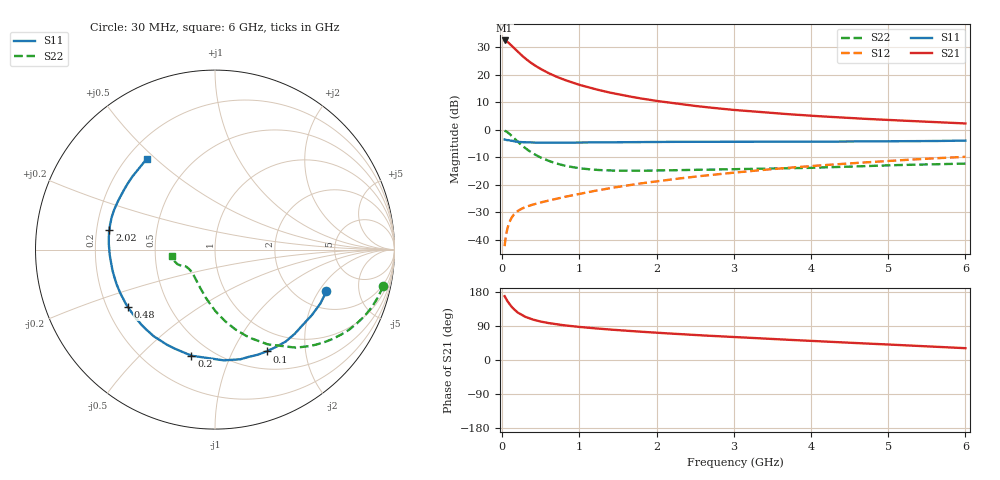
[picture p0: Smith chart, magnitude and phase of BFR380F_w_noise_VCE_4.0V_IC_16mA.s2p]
! Infineon Technologies  Discrete & RF Semiconductors
! BFR380F
! VCE =  4.0 V,  IC =  16 mA
! Common Emitter S-Parameters:  Nov 2015
# GHz  S  MA  R  50
!  f  S11  S21  S12  S22
! GHz  MAG  ANG  MAG  ANG  MAG  ANG  MAG  ANG
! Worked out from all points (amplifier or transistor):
!   206 points, 30 MHz to 6 GHz, reference 50 ohm
!   highest |S21| = 32.4 dB at 30 MHz (marker M1)
!   |S21| within 3 dB of that: start of sweep to 161.2 MHz
!   unconditionally stable (mu >= 1): 1.504 GHz to 4.988 GHz
!   at 200 MHz: K = 0.32, MSG = 28.9 dB, |S12| = -29.5 dB
!   at 1.56 GHz: K = 1.01, MAG = 16.0 dB, |S12| = -20.5 dB
!   at 6 GHz: K = 0.98, MSG = 6.1 dB, |S12| = -9.9 dB
!   lowest NFmin = 0.97 dB at 900 MHz
!   S11 on the Smith chart (normalised r, x): 30 MHz: 2.84, -2.35; 100 MHz: 0.72, -1.37; 200 MHz: 0.39, -0.73; 480 MHz: 0.29, -0.28; 2.02 GHz: 0.25, +0.09; 6 GHz: 0.28, +0.47
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0.03  0.6631 -20.5  41.48 168.4  0.0077 81.1  0.9592 -12.3
0.05  0.6516 -34.0  40.46 160.7  0.0126 76.4  0.9313 -20.1
0.07  0.6462 -46.5  38.65 154.3  0.0168 70.9  0.8911 -27.5
0.1  0.636 -63.1  35.58 145.7  0.0222 64.8  0.8222 -37.3
0.12  0.6265 -72.6  33.44 140.6  0.0252 61.2  0.7741 -43.1
0.15  0.619 -85.5  30.44 134.0  0.0289 57.1  0.7053 -50.7
0.2  0.6055 -102.5  25.9 125.2  0.0334 52.4  0.6042 -60.9
0.24  0.5955 -112.5  23.01 120.3  0.0361 50.3  0.5389 -67.2
0.3  0.5913 -125.2  19.44 113.8  0.0395 48.5  0.4596 -75.6
0.36  0.5859 -134.0  16.76 109.2  0.0421 47.9  0.4013 -82.1
0.4  0.5837 -138.9  15.3 106.5  0.0438 48.0  0.3698 -85.9
0.48  0.5812 -146.8  13.04 102.3  0.047 48.7  0.3214 -92.6
0.6  0.5808 -155.5  10.59 97.4  0.0517 50.4  0.2715 -101.1
0.7  0.5813 -160.8  9.159 94.4  0.0557 52.1  0.2438 -107.2
0.9  0.5829 -168.6  7.197 89.4  0.0642 55.1  0.2101 -117.2
1.04  0.5838 -172.8  6.264 86.5  0.0704 56.9  0.1967 -122.9
1.4  0.5904 179.0  4.683 80.3  0.0869 60.2  0.1817 -134.6
2.02  0.5989 169.4  3.291 71.8  0.1168 62.9  0.1815 -144.7
3.1  0.6038 157.4  2.222 59.6  0.1712 63.3  0.1923 -151.4
4.1  0.6064 146.8  1.754 49.3  0.2237 61.0  0.2049 -153.4
5.1  0.6151 137.2  1.477 39.9  0.2758 57.4  0.2273 -160.2
6  0.6327 127.0  1.295 31.2  0.3214 52.9  0.2423 -171.6
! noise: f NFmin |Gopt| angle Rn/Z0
0.45  0.99  0.14  165  0.08
0.9  0.97  0.22  162  0.08
1.8  1.22  0.33  179  0.07
1.9  1.29  0.33  -180  0.07
2.4  1.4  0.38  -168  0.08
3.5  1.99  0.48  -155  0.12
